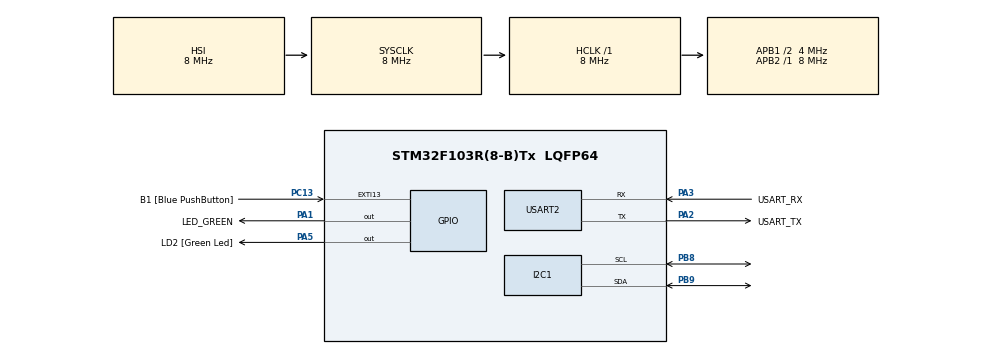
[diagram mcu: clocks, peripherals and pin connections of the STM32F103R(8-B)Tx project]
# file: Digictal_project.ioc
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Mcu.Family=STM32F1
Mcu.Name=STM32F103R(8-B)Tx
Mcu.Package=LQFP64
NVIC.EXTI15_10_IRQn=true\:0\:0\:false\:false\:true\:true\:true
NVIC.I2C1_ER_IRQn=true\:0\:0\:false\:false\:true\:true\:true
NVIC.I2C1_EV_IRQn=true\:0\:0\:false\:false\:true\:true\:true
NVIC.PriorityGroup=NVIC_PRIORITYGROUP_4
PA1.GPIO_Label=LED_GREEN
PA1.Signal=GPIO_Output
PA13.GPIO_Label=TMS
PA13.Mode=Serial_Wire
PA13.Signal=SYS_JTMS-SWDIO
PA14.GPIO_Label=TCK
PA14.Mode=Serial_Wire
PA14.Signal=SYS_JTCK-SWCLK
PA2.GPIO_Label=USART_TX
PA2.GPIO_Mode=GPIO_MODE_AF_PP
PA2.GPIO_PuPd=GPIO_NOPULL
PA2.GPIO_Speed=GPIO_SPEED_FREQ_LOW
PA2.Mode=Asynchronous
PA2.Signal=USART2_TX
PA3.GPIO_Label=USART_RX
PA3.GPIO_Mode=GPIO_MODE_AF_PP
PA3.GPIO_PuPd=GPIO_NOPULL
PA3.GPIO_Speed=GPIO_SPEED_FREQ_LOW
PA3.Mode=Asynchronous
PA3.Signal=USART2_RX
PA5.GPIO_Label=LD2 [Green Led]
PA5.GPIO_ModeDefaultOutputPP=GPIO_MODE_OUTPUT_PP
PA5.GPIO_PuPd=GPIO_NOPULL
PA5.GPIO_Speed=GPIO_SPEED_FREQ_LOW
PA5.Signal=GPIO_Output
PB3.GPIO_Label=SWO
PB3.Signal=SYS_JTDO-TRACESWO
PB8.Mode=I2C
PB8.Signal=I2C1_SCL
PB9.Mode=I2C
PB9.Signal=I2C1_SDA
PC13-TAMPER-RTC.GPIO_Label=B1 [Blue PushButton]
PC13-TAMPER-RTC.GPIO_PuPd=GPIO_NOPULL
PC13-TAMPER-RTC.Signal=GPXTI13
PC14-OSC32_IN.Mode=LSE-External-Oscillator
PC14-OSC32_IN.Signal=RCC_OSC32_IN
PC15-OSC32_OUT.Mode=LSE-External-Oscillator
PC15-OSC32_OUT.Signal=RCC_OSC32_OUT
PD0-OSC_IN.Mode=HSE-External-Clock-Source
PD0-OSC_IN.Signal=RCC_OSC_IN
PD1-OSC_OUT.Mode=HSE-External-Clock-Source
PD1-OSC_OUT.Signal=RCC_OSC_OUT
ProjectManager.HeapSize=0x200
ProjectManager.StackSize=0x400
ProjectManager.TargetToolchain=STM32CubeIDE
RCC.AHBFreq_Value=8000000
RCC.APB1CLKDivider=RCC_HCLK_DIV2
RCC.APB1Freq_Value=4000000
RCC.APB1TimFreq_Value=8000000
RCC.APB2Freq_Value=8000000
RCC.APB2TimFreq_Value=8000000
RCC.HCLKFreq_Value=8000000
RCC.PLLMUL=RCC_PLL_MUL9
RCC.RTCClockSelection=RCC_RTCCLKSOURCE_LSE
RCC.SYSCLKFreq_VALUE=8000000
RCC.USBFreq_Value=36000000
USART2.VirtualMode=VM_ASYNC
board=NUCLEO-F103RB

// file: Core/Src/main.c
/* USER CODE BEGIN Header */
/**
  ******************************************************************************
  * @file           : main.c
  * @brief          : Main program body
  ******************************************************************************
  * @attention
  *
  * <h2><center>&copy; Copyright (c) 2024 STMicroelectronics.
  * All rights reserved.</center></h2>
  *
  * This software component is licensed by ST under BSD 3-Clause license,
  * the "License"; You may not use this file except in compliance with the
  * License. You may obtain a copy of the License at:
  *                        opensource.org/licenses/BSD-3-Clause
  *
  ******************************************************************************
  */
/* USER CODE END Header */
#include "main.h"

/* USER CODE BEGIN Includes */
#include "HDL_dht20.h"
#include <math.h>
/* USER CODE END Includes */

I2C_HandleTypeDef hi2c1;

UART_HandleTypeDef huart2;

void SystemClock_Config(void);
static void MX_GPIO_Init(void);
static void MX_USART2_UART_Init(void);
static void MX_I2C1_Init(void);

/* USER CODE BEGIN 0 */

void float_to_str(float num, char *str, int decimal) {
    int int_part = (int)num;
    float fraction = num - (float)int_part;

    // Xử lý số âm
    if (num < 0) {
        int_part = -int_part;
        fraction = -fraction;
        *str++ = '-';
    }

    // Chuyển đổi phần nguyên
    sprintf(str, "%d.", int_part);
    // Tìm vị trí dấu chấm
    while (*str != '.' && *str != '\0') str++;
    str++; // B�? qua dấu chấm

    // Chuyển đổi phần thập phân
    int frac_part = (int)(fraction * pow(10, decimal) + 0.5); // Làm tròn
    sprintf(str, "%0*d", decimal, frac_part);
}
/* USER CODE END 0 */

int main(void)
{

  /* MCU Configuration--------------------------------------------------------*/

  /* Reset of all peripherals, Initializes the Flash interface and the Systick. */
  HAL_Init();

  /* Configure the system clock */
  SystemClock_Config();

  /* Initialize all configured peripherals */
  MX_GPIO_Init();
  MX_USART2_UART_Init();
  MX_I2C1_Init();
  /* USER CODE BEGIN 2 */
//extern status_active active;
  HDL_DHT20_init();
  HAL_Delay(1000);
  lcd_init();
  /* USER CODE END 2 */

  /* Infinite loop */
  /* USER CODE BEGIN WHILE */
  while (1)
  {
	/*
	 if(active != DHT20_OK){
		 Error_Handler();
	 }
	 */
	 HDL_DHT20_run();

    /* USER CODE END WHILE */

  }
}

void SystemClock_Config(void)
{
  RCC_OscInitTypeDef RCC_OscInitStruct = {0};
  RCC_ClkInitTypeDef RCC_ClkInitStruct = {0};

  /** Initializes the RCC Oscillators according to the specified parameters
  * in the RCC_OscInitTypeDef structure.
  */
  RCC_OscInitStruct.OscillatorType = RCC_OSCILLATORTYPE_HSI;
  RCC_OscInitStruct.HSIState = RCC_HSI_ON;
  RCC_OscInitStruct.HSICalibrationValue = RCC_HSICALIBRATION_DEFAULT;
  RCC_OscInitStruct.PLL.PLLState = RCC_PLL_NONE;
  if (HAL_RCC_OscConfig(&RCC_OscInitStruct) != HAL_OK)
  {
    Error_Handler();
  }
  /** Initializes the CPU, AHB and APB buses clocks
  */
  RCC_ClkInitStruct.ClockType = RCC_CLOCKTYPE_HCLK|RCC_CLOCKTYPE_SYSCLK
                              |RCC_CLOCKTYPE_PCLK1|RCC_CLOCKTYPE_PCLK2;
  RCC_ClkInitStruct.SYSCLKSource = RCC_SYSCLKSOURCE_HSI;
  RCC_ClkInitStruct.AHBCLKDivider = RCC_SYSCLK_DIV1;
  RCC_ClkInitStruct.APB1CLKDivider = RCC_HCLK_DIV2;
  RCC_ClkInitStruct.APB2CLKDivider = RCC_HCLK_DIV1;

  if (HAL_RCC_ClockConfig(&RCC_ClkInitStruct, FLASH_LATENCY_0) != HAL_OK)
  {
    Error_Handler();
  }
}

static void MX_I2C1_Init(void)
{

  hi2c1.Instance = I2C1;
  hi2c1.Init.ClockSpeed = 100000;
  hi2c1.Init.DutyCycle = I2C_DUTYCYCLE_2;
  hi2c1.Init.OwnAddress1 = 0;
  hi2c1.Init.AddressingMode = I2C_ADDRESSINGMODE_7BIT;
  hi2c1.Init.DualAddressMode = I2C_DUALADDRESS_DISABLE;
  hi2c1.Init.OwnAddress2 = 0;
  hi2c1.Init.GeneralCallMode = I2C_GENERALCALL_DISABLE;
  hi2c1.Init.NoStretchMode = I2C_NOSTRETCH_DISABLE;
  if (HAL_I2C_Init(&hi2c1) != HAL_OK)
  {
    Error_Handler();
  }

}

static void MX_USART2_UART_Init(void)
{

  huart2.Instance = USART2;
  huart2.Init.BaudRate = 115200;
  huart2.Init.WordLength = UART_WORDLENGTH_8B;
  huart2.Init.StopBits = UART_STOPBITS_1;
  huart2.Init.Parity = UART_PARITY_NONE;
  huart2.Init.Mode = UART_MODE_TX_RX;
  huart2.Init.HwFlowCtl = UART_HWCONTROL_NONE;
  huart2.Init.OverSampling = UART_OVERSAMPLING_16;
  if (HAL_UART_Init(&huart2) != HAL_OK)
  {
    Error_Handler();
  }

}

static void MX_GPIO_Init(void)
{
  GPIO_InitTypeDef GPIO_InitStruct = {0};

  /* GPIO Ports Clock Enable */
  __HAL_RCC_GPIOC_CLK_ENABLE();
  __HAL_RCC_GPIOD_CLK_ENABLE();
  __HAL_RCC_GPIOA_CLK_ENABLE();
  __HAL_RCC_GPIOB_CLK_ENABLE();

  /*Configure GPIO pin Output Level */
  HAL_GPIO_WritePin(GPIOA, LED_GREEN_Pin|LD2_Pin, GPIO_PIN_RESET);

  /*Configure GPIO pin : B1_Pin */
  GPIO_InitStruct.Pin = B1_Pin;
  GPIO_InitStruct.Mode = GPIO_MODE_IT_RISING;
  GPIO_InitStruct.Pull = GPIO_NOPULL;
  HAL_GPIO_Init(B1_GPIO_Port, &GPIO_InitStruct);

  /*Configure GPIO pins : LED_GREEN_Pin LD2_Pin */
  GPIO_InitStruct.Pin = LED_GREEN_Pin|LD2_Pin;
  GPIO_InitStruct.Mode = GPIO_MODE_OUTPUT_PP;
  GPIO_InitStruct.Pull = GPIO_NOPULL;
  GPIO_InitStruct.Speed = GPIO_SPEED_FREQ_LOW;
  HAL_GPIO_Init(GPIOA, &GPIO_InitStruct);

  /* EXTI interrupt init*/
  HAL_NVIC_SetPriority(EXTI15_10_IRQn, 0, 0);
  HAL_NVIC_EnableIRQ(EXTI15_10_IRQn);

}

void Error_Handler(void)
{
  /* USER CODE BEGIN Error_Handler_Debug */
  /* User can add his own implementation to report the HAL error return state */
  __disable_irq();
  HAL_GPIO_TogglePin(GPIOA, LED_GREEN_Pin);
  while (1)
  {
  }
  /* USER CODE END Error_Handler_Debug */
}

/************************ (C) COPYRIGHT STMicroelectronics *****END OF FILE****/
